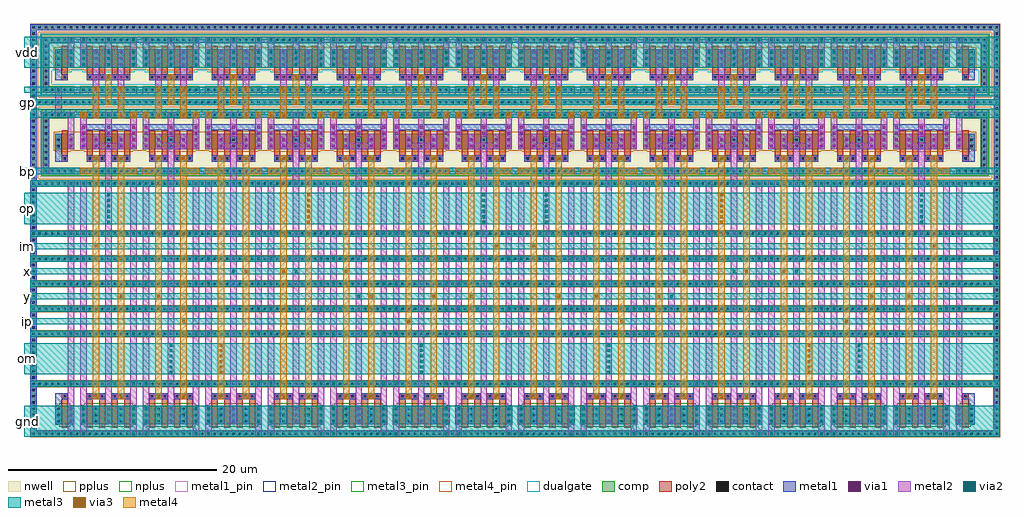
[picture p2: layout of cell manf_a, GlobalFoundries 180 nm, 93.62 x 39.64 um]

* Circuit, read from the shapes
.subckt manf_a bp gnd gp im ip om op vdd vreg x y
XM1 gnd manf_edge_1/lo manf_edge_1/lo gnd nfet_03v3 w=1.8u l=0.6u
XM2 manf_cell_0/d1 im gnd gnd nfet_03v3 w=1.8u l=0.6u
XM3 op im manf_cell_0/d1 gnd nfet_03v3 w=1.8u l=0.6u
XM4 manf_cell_0/d2 y op gnd nfet_03v3 w=1.8u l=0.6u
XM5 gnd y manf_cell_0/d2 gnd nfet_03v3 w=1.8u l=0.6u
XM6 manf_cell_2/d1 y gnd gnd nfet_03v3 w=1.8u l=0.6u
XM7 om y manf_cell_2/d1 gnd nfet_03v3 w=1.8u l=0.6u
XM8 manf_cell_2/d2 ip om gnd nfet_03v3 w=1.8u l=0.6u
XM9 gnd ip manf_cell_2/d2 gnd nfet_03v3 w=1.8u l=0.6u
XM10 manf_cell_3/d1 om gnd gnd nfet_03v3 w=1.8u l=0.6u
XM11 x om manf_cell_3/d1 gnd nfet_03v3 w=1.8u l=0.6u
XM12 manf_cell_3/d2 x x gnd nfet_03v3 w=1.8u l=0.6u
XM13 gnd x manf_cell_3/d2 gnd nfet_03v3 w=1.8u l=0.6u
XM14 manf_cell_4/d1 x gnd gnd nfet_03v3 w=1.8u l=0.6u
XM15 x x manf_cell_4/d1 gnd nfet_03v3 w=1.8u l=0.6u
XM16 manf_cell_4/d2 op x gnd nfet_03v3 w=1.8u l=0.6u
XM17 gnd op manf_cell_4/d2 gnd nfet_03v3 w=1.8u l=0.6u
XM18 manf_cell_5/d1 x gnd gnd nfet_03v3 w=1.8u l=0.6u
XM19 y x manf_cell_5/d1 gnd nfet_03v3 w=1.8u l=0.6u
XM20 manf_cell_5/d2 y y gnd nfet_03v3 w=1.8u l=0.6u
XM21 gnd y manf_cell_5/d2 gnd nfet_03v3 w=1.8u l=0.6u
XM22 manf_cell_6/d1 ip gnd gnd nfet_03v3 w=1.8u l=0.6u
XM23 om ip manf_cell_6/d1 gnd nfet_03v3 w=1.8u l=0.6u
XM24 manf_cell_6/d2 y om gnd nfet_03v3 w=1.8u l=0.6u
XM25 gnd y manf_cell_6/d2 gnd nfet_03v3 w=1.8u l=0.6u
XM26 manf_cell_7/d1 y gnd gnd nfet_03v3 w=1.8u l=0.6u
XM27 op y manf_cell_7/d1 gnd nfet_03v3 w=1.8u l=0.6u
XM28 manf_cell_7/d2 im op gnd nfet_03v3 w=1.8u l=0.6u
XM29 gnd im manf_cell_7/d2 gnd nfet_03v3 w=1.8u l=0.6u
XM30 manf_cell_8/d2 im gnd gnd nfet_03v3 w=1.8u l=0.6u
XM31 op im manf_cell_8/d2 gnd nfet_03v3 w=1.8u l=0.6u
XM32 manf_cell_8/d1 y op gnd nfet_03v3 w=1.8u l=0.6u
XM33 gnd y manf_cell_8/d1 gnd nfet_03v3 w=1.8u l=0.6u
XM34 manf_cell_9/d2 y gnd gnd nfet_03v3 w=1.8u l=0.6u
XM35 om y manf_cell_9/d2 gnd nfet_03v3 w=1.8u l=0.6u
XM36 manf_cell_9/d1 ip om gnd nfet_03v3 w=1.8u l=0.6u
XM37 gnd ip manf_cell_9/d1 gnd nfet_03v3 w=1.8u l=0.6u
XM38 manf_cell_10/d2 y gnd gnd nfet_03v3 w=1.8u l=0.6u
XM39 y y manf_cell_10/d2 gnd nfet_03v3 w=1.8u l=0.6u
XM40 manf_cell_10/d1 x y gnd nfet_03v3 w=1.8u l=0.6u
XM41 gnd x manf_cell_10/d1 gnd nfet_03v3 w=1.8u l=0.6u
XM42 manf_cell_11/d2 op gnd gnd nfet_03v3 w=1.8u l=0.6u
XM43 x op manf_cell_11/d2 gnd nfet_03v3 w=1.8u l=0.6u
XM44 manf_cell_11/d1 x x gnd nfet_03v3 w=1.8u l=0.6u
XM45 gnd x manf_cell_11/d1 gnd nfet_03v3 w=1.8u l=0.6u
XM46 manf_cell_12/d2 x gnd gnd nfet_03v3 w=1.8u l=0.6u
XM47 x x manf_cell_12/d2 gnd nfet_03v3 w=1.8u l=0.6u
XM48 manf_cell_12/d1 om x gnd nfet_03v3 w=1.8u l=0.6u
XM49 gnd om manf_cell_12/d1 gnd nfet_03v3 w=1.8u l=0.6u
XM50 manf_cell_13/d2 ip gnd gnd nfet_03v3 w=1.8u l=0.6u
XM51 om ip manf_cell_13/d2 gnd nfet_03v3 w=1.8u l=0.6u
XM52 manf_cell_13/d1 y om gnd nfet_03v3 w=1.8u l=0.6u
XM53 gnd y manf_cell_13/d1 gnd nfet_03v3 w=1.8u l=0.6u
XM54 manf_cell_14/d2 y gnd gnd nfet_03v3 w=1.8u l=0.6u
XM55 op y manf_cell_14/d2 gnd nfet_03v3 w=1.8u l=0.6u
XM56 manf_cell_14/d1 im op gnd nfet_03v3 w=1.8u l=0.6u
XM57 gnd im manf_cell_14/d1 gnd nfet_03v3 w=1.8u l=0.6u
XM58 manf_edge_15/lo manf_edge_15/lo gnd gnd nfet_03v3 w=1.8u l=0.6u
XM59 vreg manf_edge_1/hi manf_edge_1/hi bp pfet_03v3 w=1.5u l=0.6u
XM60 vdd manf_edge_1/hih manf_edge_1/hih vdd pfet_06v0 w=1.8u l=0.6u
XM61 op im vreg bp pfet_03v3 w=1.5u l=0.6u m=8
XM62 vreg gp vdd vdd pfet_06v0 w=1.8u l=0.6u m=56
XM63 op y vreg bp pfet_03v3 w=1.5u l=0.6u m=8
XM64 om y vreg bp pfet_03v3 w=1.5u l=0.6u m=8
XM65 om ip vreg bp pfet_03v3 w=1.5u l=0.6u m=8
XM66 x om vreg bp pfet_03v3 w=1.5u l=0.6u m=4
XM67 x x vreg bp pfet_03v3 w=1.5u l=0.6u m=8
XM68 x op vreg bp pfet_03v3 w=1.5u l=0.6u m=4
XM69 y x vreg bp pfet_03v3 w=1.5u l=0.6u m=4
XM70 y y vreg bp pfet_03v3 w=1.5u l=0.6u m=4
XM71 manf_edge_15/hi manf_edge_15/hi vreg bp pfet_03v3 w=1.5u l=0.6u
XM72 manf_edge_15/hih manf_edge_15/hih vdd vdd pfet_06v0 w=1.8u l=0.6u
.ends

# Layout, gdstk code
from math import pi, radians
import gdstk
lib = gdstk.Library(unit=1e-6, precision=1e-09)
def R(c, l, rs):  # rectangles x0, y0, x1, y1
    for r in rs: c.add(gdstk.rectangle(r[:2], r[2:], *l))
def A(c, l, x, y, w, h, nx, ny, dx, dy):  # array of equal rectangles
    R(c, l, [(x+i*dx, y+j*dy, x+i*dx+w, y+j*dy+h) for i in range(nx) for j in range(ny)])
nwell = (21, 0)
comp = (22, 0)
poly2 = (30, 0)
pplus = (31, 0)
nplus = (32, 0)
contact = (33, 0)
metal1 = (34, 0)
metal1_pin = (34, 10)
via1 = (35, 0)
metal2 = (36, 0)
metal2_pin = (36, 10)
via2 = (38, 0)
via3 = (40, 0)
metal3 = (42, 0)
metal3_pin = (42, 10)
metal4 = (46, 0)
metal4_pin = (46, 10)
dualgate = (55, 0)

manf_cell = lib.new_cell('manf_cell')
R(manf_cell, nwell, [(-36,18.3,-29.4,24.9), (-36,26.1,-29.4,32.1)])
A(manf_cell, comp, -36, -6.6, 6.6, 0.6, 1, 3, 0, 4.8)
A(manf_cell, comp, -36, 5.4, 6.6, 0.6, 1, 4, 0, 2.4)
R(manf_cell, comp, [(-35.4,-5.4,-30,-3.6), (-36,17.4,-29.4,18), (-35.4,18.6,-30,19.2), (-35.4,21,-30,22.5), (-35.4,24,-30,24.6), (-36,25.2,-29.4,25.8), (-35.4,26.4,-30,27), (-35.4,28.8,-30,30.6), (-35.4,31.2,-30,31.8), (-36,32.4,-29.4,33)])
A(manf_cell, poly2, -34.8, -5.7, 0.6, 2.7, 4, 2, 1.2, 33.9)
A(manf_cell, poly2, -34.8, 20.4, 0.6, 2.4, 4, 1, 1.2, 0)
R(manf_cell, poly2, [(-34.8,-3,-33,-2.4), (-32.4,-3,-30.6,-2.4), (-34.8,19.8,-33,20.4), (-32.4,19.8,-30.6,20.4), (-34.8,27.6,-30.6,28.2)])
A(manf_cell, pplus, -36.02, -6.62, 6.64, 0.64, 1, 3, 0, 4.8)
A(manf_cell, pplus, -36.02, 5.38, 6.64, 0.64, 1, 4, 0, 2.4)
R(manf_cell, pplus, [(-36.02,17.38,-29.38,17.71), (-36.16,17.71,-29.24,18.16), (-35.03,20.77,-30.37,20.84), (-35.56,20.84,-29.84,22.66), (-35.03,22.66,-30.37,22.73), (-36.16,25.04,-29.24,25.96), (-35.03,28.57,-30.37,28.64), (-35.56,28.64,-29.84,30.76), (-35.03,30.76,-30.37,30.83), (-36.16,32.24,-29.24,32.69), (-36.02,32.69,-29.38,33.02)])
R(manf_cell, nplus, [(-35.03,-5.63,-30.37,-5.42), (-35.42,-5.42,-29.98,-3.58), (-35.03,-3.58,-30.37,-3.37), (-35.56,18.44,-29.84,18.89), (-35.42,18.89,-29.98,19.22), (-35.42,23.98,-29.98,24.31), (-35.56,24.31,-29.84,24.76), (-35.56,26.24,-29.84,26.69), (-35.42,26.69,-29.98,27.02), (-35.42,31.18,-29.98,31.51), (-35.56,31.51,-29.84,31.96)])
A(manf_cell, contact, -35.81, -6.41, 0.22, 0.22, 11, 3, 0.6, 4.8)
A(manf_cell, contact, -35.21, -5.21, 0.22, 0.22, 5, 3, 1.2, 0.6)
A(manf_cell, contact, -34.61, -2.81, 0.22, 0.22, 3, 2, 0.6, 22.8)
A(manf_cell, contact, -32.21, -2.81, 0.22, 0.22, 3, 2, 0.6, 22.8)
A(manf_cell, contact, -35.81, 5.59, 0.22, 0.22, 11, 4, 0.6, 2.4)
A(manf_cell, contact, -35.81, 17.59, 0.22, 0.22, 11, 2, 0.6, 7.8)
A(manf_cell, contact, -35.21, 18.79, 0.22, 0.22, 9, 2, 0.6, 5.4)
A(manf_cell, contact, -35.21, 21.19, 0.22, 0.22, 5, 2, 1.2, 0.6)
A(manf_cell, contact, -35.21, 26.59, 0.22, 0.22, 9, 2, 0.6, 4.8)
A(manf_cell, contact, -34.61, 27.79, 0.22, 0.22, 7, 1, 0.6, 0)
A(manf_cell, contact, -35.21, 28.99, 0.22, 0.22, 5, 3, 1.2, 0.6)
A(manf_cell, contact, -35.81, 32.59, 0.22, 0.22, 11, 1, 0.6, 0)
A(manf_cell, metal1, -36, -6.6, 6.6, 0.6, 1, 3, 0, 4.8)
A(manf_cell, metal1, -35.4, -5.4, 0.6, 1.8, 5, 2, 1.2, 34.2)
A(manf_cell, metal1, -36, 5.4, 6.6, 0.6, 1, 4, 0, 2.4)
A(manf_cell, metal1, -35.4, 21, 0.6, 1.8, 3, 1, 2.4, 0)
A(manf_cell, metal1, -36, 24, 6.6, 0.6, 1, 3, 0, 1.2)
R(manf_cell, metal1, [(-34.8,-3,-33,-2.4), (-32.4,-3,-30.6,-2.4), (-36,17.4,-29.4,18), (-36,18.6,-29.4,19.2), (-34.8,19.8,-33,20.4), (-32.4,19.8,-30.6,20.4), (-34.2,21,-33.6,22.5), (-31.8,21,-31.2,22.5), (-35.4,22.8,-30,23.4), (-34.8,27.6,-30.6,28.2), (-36,31.2,-29.4,31.8), (-36,32.4,-29.4,33)])
R(manf_cell, metal1_pin, [(-36,18.6,-35.4,19.2), (-30,18.6,-29.4,19.2)])
A(manf_cell, via1, -35.23, -6.43, 0.26, 0.26, 1, 3, 0, 4.8)
A(manf_cell, via1, -30.43, -6.43, 0.26, 0.26, 1, 3, 0, 4.8)
A(manf_cell, via1, -35.23, -5.23, 0.26, 0.26, 3, 3, 2.4, 0.6)
A(manf_cell, via1, -35.23, 5.57, 0.26, 0.26, 1, 4, 0, 2.4)
A(manf_cell, via1, -30.43, 5.57, 0.26, 0.26, 1, 4, 0, 2.4)
A(manf_cell, via1, -35.23, 22.37, 0.26, 0.26, 3, 2, 2.4, 0.6)
A(manf_cell, via1, -35.23, 28.97, 0.26, 0.26, 5, 3, 1.2, 0.6)
A(manf_cell, via1, -35.23, 31.37, 0.26, 0.26, 3, 1, 2.4, 0)
R(manf_cell, via1, [(-34.03,-2.83,-33.77,-2.57), (-31.63,-2.83,-31.37,-2.57), (-35.23,17.57,-34.97,17.83), (-30.43,17.57,-30.17,17.83), (-35.23,18.77,-34.97,19.03), (-30.43,18.77,-30.17,19.03), (-34.03,19.97,-33.77,20.23), (-31.63,19.97,-31.37,20.23), (-35.23,21.17,-34.97,21.43), (-34.03,21.17,-33.77,21.43), (-31.63,21.17,-31.37,21.43), (-30.43,21.17,-30.17,21.43), (-35.23,21.77,-34.97,22.03), (-34.03,21.77,-33.77,22.03), (-31.63,21.77,-31.37,22.03), (-30.43,21.77,-30.17,22.03), (-32.83,27.77,-32.57,28.03)])
A(manf_cell, metal2, -35.4, 28.8, 0.6, 3, 3, 1, 2.4, 0)
R(manf_cell, metal2, [(-35.4,-6.6,-34.8,18), (-30.6,-6.6,-30,18), (-33,-5.4,-32.4,21), (-34.2,-3,-33.6,-2.4), (-31.8,-3,-31.2,-2.4), (-35.4,18.6,-34.8,19.2), (-30.6,18.6,-30,19.2), (-34.2,19.8,-33.6,20.4), (-31.8,19.8,-31.2,20.4), (-35.4,21,-34.8,24.6), (-34.2,21,-31.2,21.6), (-30.6,21,-30,24.6), (-34.2,21.6,-33.6,22.5), (-31.8,21.6,-31.2,22.5), (-33,22.2,-32.4,24.6), (-34.2,24,-33.6,30.6), (-31.8,24,-31.2,30.6), (-33,27.6,-32.4,28.2)])
R(manf_cell, metal2_pin, [(-33,-0.6,-32.4,16.8)])
A(manf_cell, via2, -35.23, -5.23, 0.26, 0.26, 1, 3, 0, 0.6)
A(manf_cell, via2, -30.43, -5.23, 0.26, 0.26, 1, 3, 0, 0.6)
A(manf_cell, via2, -35.23, 3.17, 0.26, 0.26, 1, 5, 0, 2.4)
A(manf_cell, via2, -30.43, 3.17, 0.26, 0.26, 1, 5, 0, 2.4)
A(manf_cell, via2, -35.23, 24.17, 0.26, 0.26, 5, 1, 1.2, 0)
A(manf_cell, via2, -35.23, 28.97, 0.26, 0.26, 3, 3, 2.4, 0.6)
A(manf_cell, via2, -35.23, 31.37, 0.26, 0.26, 3, 1, 2.4, 0)
R(manf_cell, via2, [(-35.23,-6.43,-34.97,-6.17), (-30.43,-6.43,-30.17,-6.17), (-34.03,-2.83,-33.77,-2.57), (-31.63,-2.83,-31.37,-2.57), (-35.23,-1.63,-34.97,-1.37), (-30.43,-1.63,-30.17,-1.37), (-35.23,17.57,-34.97,17.83), (-30.43,17.57,-30.17,17.83), (-35.23,18.77,-34.97,19.03), (-30.43,18.77,-30.17,19.03), (-34.03,19.97,-33.77,20.23), (-31.63,19.97,-31.37,20.23), (-34.03,26.57,-33.77,26.83), (-31.63,26.57,-31.37,26.83), (-32.83,27.77,-32.57,28.03)])
R(manf_cell, via3, [(-34.03,-2.83,-33.77,-2.57), (-31.63,-2.83,-31.37,-2.57), (-34.03,19.97,-33.77,20.23), (-31.63,19.97,-31.37,20.23), (-35.23,24.17,-34.97,24.43), (-34.03,24.17,-33.77,24.43), (-31.63,24.17,-31.37,24.43), (-30.43,24.17,-30.17,24.43), (-32.83,25.37,-32.57,25.63), (-34.03,26.57,-33.77,26.83), (-31.63,26.57,-31.37,26.83), (-32.83,27.77,-32.57,28.03)])
A(manf_cell, metal3, -36, 3, 6.6, 0.6, 1, 9, 0, 1.2)
R(manf_cell, metal3, [(-36,-6.6,-29.4,-3.6), (-34.2,-3,-33.6,-2.4), (-31.8,-3,-31.2,-2.4), (-36,-1.8,-29.4,-1.2), (-36,-0.6,-29.4,2.4), (-36,13.8,-29.4,16.8), (-36,17.4,-29.4,18), (-36,18.6,-29.4,19.2), (-34.2,19.8,-33.6,20.4), (-31.8,19.8,-31.2,20.4), (-36,24,-29.4,24.9), (-36,25.2,-29.4,25.8), (-36,26.1,-29.4,27), (-33,27.6,-32.4,28.2), (-36,28.8,-29.4,31.8)])
A(manf_cell, metal3_pin, -36, 4.2, 6.6, 0.6, 1, 4, 0, 2.4)
R(manf_cell, metal3_pin, [(-36,-6.6,-29.4,-3.6), (-36,-0.6,-29.4,2.4), (-36,13.8,-29.4,16.8), (-36,25.2,-29.4,25.8), (-36,26.1,-35.4,27), (-30,26.1,-29.4,27), (-36,28.8,-29.4,31.8)])
R(manf_cell, metal4, [(-34.2,-3,-33.6,18.6), (-31.8,-3,-31.2,18.6), (-35.4,18.6,-33.6,19.2), (-31.8,18.6,-30,19.2), (-34.2,19.2,-33.6,20.4), (-31.8,19.2,-31.2,20.4), (-35.4,24,-34.8,24.6), (-34.2,24,-33.6,27), (-31.8,24,-31.2,27), (-30.6,24,-30,24.6), (-33,25.2,-32.4,28.2)])
R(manf_cell, metal4_pin, [(-34.2,-0.6,-33.6,16.8), (-31.8,-0.6,-31.2,16.8)])
R(manf_cell, dualgate, [(-35.64,26.16,-29.76,27.24), (-35.2,28.4,-30.2,28.56), (-35.64,28.56,-29.76,32.04)])
manf_cell.add(gdstk.Label('d1', (-33.9,-4.5), layer=34, texttype=0))
manf_cell.add(gdstk.Label('d2', (-31.5,-4.5), layer=34, texttype=0))
manf_cell.add(gdstk.Label('gnd', (-32.7,32.7), layer=34, texttype=0))
manf_cell.add(gdstk.Label('gnd', (-32.7,25.5), layer=34, texttype=0))
manf_cell.add(gdstk.Label('inl', (-33.9,8.1), layer=46, texttype=10))
manf_cell.add(gdstk.Label('inr', (-31.5,8.1), layer=46, texttype=10))
manf_cell.add(gdstk.Label('out', (-32.7,8.1), layer=36, texttype=10))
manf_cell.add(gdstk.Label('vdd', (-32.7,30.3), layer=42, texttype=10))
manf_cell.add(gdstk.Label('gp', (-32.7,25.5), layer=42, texttype=10))
manf_cell.add(gdstk.Label('bp', (-35.7,18.9), layer=34, texttype=10))
manf_cell.add(gdstk.Label('bp', (-29.7,18.9), layer=34, texttype=10))
manf_cell.add(gdstk.Label('vreg', (-35.7,26.55), layer=42, texttype=10))
manf_cell.add(gdstk.Label('vreg', (-29.7,26.55), layer=42, texttype=10))
manf_cell.add(gdstk.Label('op', (-32.7,15.3), layer=42, texttype=10))
manf_cell.add(gdstk.Label('im', (-32.7,11.7), layer=42, texttype=10))
manf_cell.add(gdstk.Label('x', (-32.7,9.3), layer=42, texttype=10))
manf_cell.add(gdstk.Label('y', (-32.7,6.9), layer=42, texttype=10))
manf_cell.add(gdstk.Label('ip', (-32.7,4.5), layer=42, texttype=10))
manf_cell.add(gdstk.Label('om', (-32.7,0.9), layer=42, texttype=10))
manf_cell.add(gdstk.Label('gnd', (-32.7,-5.1), layer=42, texttype=10))

manf_edge = lib.new_cell('manf_edge')
R(manf_edge, nwell, [(-36.9,18.3,-33,24.9), (-36.9,26.1,-33,32.1)])
A(manf_edge, comp, -37.8, -6.6, 4.8, 0.6, 1, 3, 0, 4.8)
A(manf_edge, comp, -37.8, 3.6, 0.6, 1.8, 1, 4, 0, 2.4)
A(manf_edge, comp, -37.8, 5.4, 4.8, 0.6, 1, 4, 0, 2.4)
R(manf_edge, comp, [(-37.8,-6,-37.2,-1.8), (-35.4,-5.4,-33.6,-3.6), (-37.8,-1.2,-37.2,3), (-37.8,13.2,-37.2,17.4), (-37.8,17.4,-33,18), (-37.8,18,-37.2,25.2), (-36.6,18.6,-33.6,19.2), (-36.6,19.2,-36,24), (-35.4,21,-33.6,22.5), (-36.6,24,-33.6,24.6), (-37.8,25.2,-33,25.8), (-37.8,25.8,-37.2,32.4), (-36.6,26.4,-33.6,27), (-36.6,27,-36,31.2), (-35.4,28.8,-33.6,30.6), (-36.6,31.2,-33.6,31.8), (-37.8,32.4,-33,33)])
R(manf_edge, poly2, [(-34.8,-5.7,-34.2,-2.4), (-34.8,19.8,-34.2,22.8), (-34.8,27.6,-34.2,30.9)])
A(manf_edge, pplus, -37.82, -6.62, 4.84, 0.64, 1, 3, 0, 4.8)
A(manf_edge, pplus, -37.82, 3.62, 0.64, 1.76, 1, 4, 0, 2.4)
A(manf_edge, pplus, -37.82, 5.38, 4.84, 0.64, 1, 4, 0, 2.4)
R(manf_edge, pplus, [(-37.82,-5.98,-37.18,-1.82), (-37.82,-1.18,-37.18,2.98), (-37.82,13.22,-37.18,17.38), (-37.82,17.38,-32.98,17.71), (-37.82,17.71,-32.84,18.16), (-37.82,18.16,-37.04,25.04), (-35.03,20.77,-33.97,20.84), (-35.56,20.84,-33.44,22.66), (-35.03,22.66,-33.97,22.73), (-37.82,25.04,-32.84,25.96), (-37.82,25.96,-37.04,32.24), (-35.03,28.57,-33.97,28.64), (-35.56,28.64,-33.44,30.76), (-35.03,30.76,-33.97,30.83), (-37.82,32.24,-32.84,32.69), (-37.82,32.69,-32.98,33.02)])
R(manf_edge, nplus, [(-35.03,-5.63,-33.97,-5.42), (-35.42,-5.42,-33.58,-3.58), (-35.03,-3.58,-33.97,-3.37), (-36.76,18.44,-33.44,18.89), (-36.76,18.89,-33.58,19.22), (-36.76,19.22,-35.98,23.98), (-36.76,23.98,-33.58,24.31), (-36.76,24.31,-33.44,24.76), (-36.76,26.24,-33.44,26.69), (-36.76,26.69,-33.58,27.02), (-36.76,27.02,-35.98,31.18), (-36.76,31.18,-33.58,31.51), (-36.76,31.51,-33.44,31.96)])
A(manf_edge, contact, -37.61, -6.41, 0.22, 0.22, 8, 3, 0.6, 4.8)
A(manf_edge, contact, -37.61, -5.81, 0.22, 0.22, 1, 7, 0, 0.6)
A(manf_edge, contact, -35.21, -5.21, 0.22, 0.22, 1, 3, 0, 0.6)
A(manf_edge, contact, -34.01, -5.21, 0.22, 0.22, 1, 3, 0, 0.6)
A(manf_edge, contact, -37.61, -1.01, 0.22, 0.22, 1, 7, 0, 0.6)
A(manf_edge, contact, -37.61, 3.79, 0.22, 0.22, 1, 3, 0, 0.6)
A(manf_edge, contact, -37.61, 5.59, 0.22, 0.22, 8, 4, 0.6, 2.4)
A(manf_edge, contact, -37.61, 6.19, 0.22, 0.22, 1, 3, 0, 0.6)
A(manf_edge, contact, -37.61, 8.59, 0.22, 0.22, 1, 3, 0, 0.6)
A(manf_edge, contact, -37.61, 10.99, 0.22, 0.22, 1, 3, 0, 0.6)
A(manf_edge, contact, -37.61, 13.39, 0.22, 0.22, 1, 7, 0, 0.6)
A(manf_edge, contact, -37.61, 17.59, 0.22, 0.22, 8, 2, 0.6, 7.8)
A(manf_edge, contact, -37.61, 18.19, 0.22, 0.22, 1, 5, 0, 0.6)
A(manf_edge, contact, -36.41, 18.79, 0.22, 0.22, 5, 2, 0.6, 5.4)
A(manf_edge, contact, -36.41, 19.39, 0.22, 0.22, 1, 3, 0, 0.6)
A(manf_edge, contact, -37.61, 21.19, 0.22, 0.22, 4, 2, 1.2, 0.6)
A(manf_edge, contact, -37.61, 22.39, 0.22, 0.22, 1, 5, 0, 0.6)
A(manf_edge, contact, -36.41, 22.39, 0.22, 0.22, 1, 3, 0, 0.6)
A(manf_edge, contact, -37.61, 25.99, 0.22, 0.22, 1, 5, 0, 0.6)
A(manf_edge, contact, -36.41, 26.59, 0.22, 0.22, 5, 2, 0.6, 4.8)
A(manf_edge, contact, -36.41, 27.19, 0.22, 0.22, 1, 3, 0, 0.6)
A(manf_edge, contact, -37.61, 28.99, 0.22, 0.22, 4, 3, 1.2, 0.6)
A(manf_edge, contact, -37.61, 30.79, 0.22, 0.22, 1, 3, 0, 0.6)
A(manf_edge, contact, -37.61, 32.59, 0.22, 0.22, 8, 1, 0.6, 0)
R(manf_edge, contact, [(-34.61,-2.81,-34.39,-2.59), (-34.61,19.99,-34.39,20.21), (-34.61,27.79,-34.39,28.01), (-36.41,30.79,-36.19,31.01)])
A(manf_edge, metal1, -37.8, -6.6, 4.8, 0.6, 1, 3, 0, 4.8)
A(manf_edge, metal1, -37.8, 3.6, 0.6, 1.8, 1, 4, 0, 2.4)
A(manf_edge, metal1, -37.8, 5.4, 4.8, 0.6, 1, 4, 0, 2.4)
R(manf_edge, metal1, [(-37.8,-6,-37.2,-1.8), (-35.4,-5.4,-34.8,-3), (-34.2,-5.4,-33.6,-3.6), (-35.4,-3,-34.2,-2.4), (-37.8,-1.2,-37.2,3), (-37.8,13.2,-37.2,17.4), (-37.8,17.4,-33,18), (-37.8,18,-37.2,25.2), (-36.6,18.6,-33,19.2), (-36.6,19.2,-36,24), (-35.4,19.8,-34.2,20.4), (-35.4,20.4,-34.8,22.5), (-34.2,21,-33.6,22.5), (-36.6,24,-33.6,24.6), (-37.8,25.2,-33,25.8), (-37.8,25.8,-37.2,32.4), (-36.6,26.4,-33,27), (-36.6,27,-36,31.2), (-35.4,27.6,-34.2,28.2), (-35.4,28.2,-34.8,30.6), (-34.2,28.8,-33.6,30.6), (-36.6,31.2,-33,31.8), (-37.8,32.4,-33,33)])
A(manf_edge, via1, -34.03, -5.23, 0.26, 0.26, 1, 3, 0, 0.6)
A(manf_edge, via1, -34.03, 3.17, 0.26, 0.26, 1, 5, 0, 2.4)
A(manf_edge, via1, -34.03, 28.97, 0.26, 0.26, 1, 3, 0, 0.6)
R(manf_edge, via1, [(-34.03,-6.43,-33.77,-6.17), (-34.03,-1.63,-33.77,-1.37), (-34.03,17.57,-33.77,17.83), (-36.43,18.77,-36.17,19.03), (-34.03,21.17,-33.77,21.43), (-34.03,21.77,-33.77,22.03), (-34.03,31.37,-33.77,31.63)])
R(manf_edge, metal2, [(-34.2,-6.6,-33.6,18), (-36.6,18.6,-36,19.2), (-34.2,21,-33.6,24.6), (-35.4,24,-34.8,27), (-34.2,28.8,-33.6,31.8)])
A(manf_edge, via2, -34.03, -6.43, 0.26, 0.26, 1, 3, 0, 4.8)
A(manf_edge, via2, -34.03, 5.57, 0.26, 0.26, 1, 4, 0, 2.4)
A(manf_edge, via2, -34.03, 28.97, 0.26, 0.26, 1, 3, 0, 0.6)
R(manf_edge, via2, [(-34.03,17.57,-33.77,17.83), (-36.43,18.77,-36.17,19.03), (-35.23,24.17,-34.97,24.43), (-34.03,24.17,-33.77,24.43), (-35.23,26.57,-34.97,26.83), (-34.03,31.37,-33.77,31.63)])
A(manf_edge, metal3, -37.8, 3, 4.8, 0.6, 1, 9, 0, 1.2)
R(manf_edge, metal3, [(-37.8,-6.6,-33,-3.6), (-37.8,-1.8,-33,-1.2), (-37.8,-0.6,-33,2.4), (-37.8,13.8,-33,16.8), (-37.8,17.4,-33,18), (-37.8,18.6,-33,19.2), (-37.8,24,-33,24.9), (-37.8,25.2,-33,25.8), (-37.8,26.1,-33,27), (-37.8,28.8,-33,31.8)])
A(manf_edge, metal3_pin, -37.8, 4.2, 4.8, 0.6, 1, 4, 0, 2.4)
R(manf_edge, metal3_pin, [(-37.8,-6.6,-33,-3.6), (-37.8,-0.6,-33,2.4), (-37.8,13.8,-33,16.8), (-37.8,18.6,-33,19.2), (-37.8,25.2,-33,25.8), (-37.8,26.4,-33,27), (-37.8,28.8,-33,31.8)])
R(manf_edge, dualgate, [(-36.84,26.16,-33.36,27.24), (-36.84,27.24,-35.76,28.56), (-35.2,28.4,-33.8,28.56), (-36.84,28.56,-33.36,32.04)])
manf_edge.add(gdstk.Label('hih', (-35.1,27.9), layer=34, texttype=0))
manf_edge.add(gdstk.Label('hi', (-35.1,20.1), layer=34, texttype=0))
manf_edge.add(gdstk.Label('lo', (-35.1,-2.7), layer=34, texttype=0))
manf_edge.add(gdstk.Label('vdd', (-35.4,30.3), layer=42, texttype=10))
manf_edge.add(gdstk.Label('vreg', (-35.4,26.7), layer=42, texttype=10))
manf_edge.add(gdstk.Label('gp', (-35.4,25.5), layer=42, texttype=10))
manf_edge.add(gdstk.Label('bp', (-35.4,18.9), layer=42, texttype=10))
manf_edge.add(gdstk.Label('op', (-35.4,15.3), layer=42, texttype=10))
manf_edge.add(gdstk.Label('im', (-35.4,11.7), layer=42, texttype=10))
manf_edge.add(gdstk.Label('x', (-35.4,9.3), layer=42, texttype=10))
manf_edge.add(gdstk.Label('y', (-35.4,6.9), layer=42, texttype=10))
manf_edge.add(gdstk.Label('ip', (-35.4,4.5), layer=42, texttype=10))
manf_edge.add(gdstk.Label('om', (-35.4,0.9), layer=42, texttype=10))
manf_edge.add(gdstk.Label('gnd', (-35.4,-5.1), layer=42, texttype=10))

manf_a = lib.new_cell('manf_a')
A(manf_a, pplus, -41.84, 18.44, 0.28, 1.82, 15, 1, 6, 0)
A(manf_a, pplus, -41.84, 26.24, 0.28, 2.12, 15, 1, 6, 0)
A(manf_a, nplus, -41.84, 16.04, 0.28, 0.45, 15, 2, 6, 5.87)
A(manf_a, nplus, -41.84, 23.84, 0.28, 0.45, 15, 2, 6, 5.27)
R(manf_a, metal2, [(-33,-3,-32.4,0), (-9,-3,-8.4,0), (9,-3,9.6,0), (33,-3,33.6,0), (-15,4.2,-14.4,4.8), (15,4.2,15.6,4.8), (-27,6.6,-26.4,7.2), (-21,6.6,-20.4,7.2), (21,6.6,21.6,7.2), (27,6.6,27.6,7.2), (-39,11.4,-38.4,14.4), (-3,11.4,-2.4,14.4), (3,11.4,3.6,14.4), (39,11.4,39.6,14.4)])
A(manf_a, via2, -32.83, -2.93, 0.26, 0.26, 1, 6, 0, 0.52)
A(manf_a, via2, -8.83, -2.93, 0.26, 0.26, 1, 6, 0, 0.52)
A(manf_a, via2, 9.17, -2.93, 0.26, 0.26, 1, 6, 0, 0.52)
A(manf_a, via2, 33.17, -2.93, 0.26, 0.26, 1, 6, 0, 0.52)
A(manf_a, via2, -38.83, 11.47, 0.26, 0.26, 1, 6, 0, 0.52)
A(manf_a, via2, -2.83, 11.47, 0.26, 0.26, 1, 6, 0, 0.52)
A(manf_a, via2, 3.17, 11.47, 0.26, 0.26, 1, 6, 0, 0.52)
A(manf_a, via2, 39.17, 11.47, 0.26, 0.26, 1, 6, 0, 0.52)
R(manf_a, via2, [(-14.83,4.37,-14.57,4.63), (15.17,4.37,15.43,4.63), (-26.83,6.77,-26.57,7.03), (-20.83,6.77,-20.57,7.03), (21.17,6.77,21.43,7.03), (27.17,6.77,27.43,7.03)])
A(manf_a, via3, -28.03, -2.93, 0.26, 0.26, 1, 6, 0, 0.52)
A(manf_a, via3, 28.37, -2.93, 0.26, 0.26, 1, 6, 0, 0.52)
A(manf_a, via3, -19.63, 11.47, 0.26, 0.26, 1, 6, 0, 0.52)
A(manf_a, via3, 19.97, 11.47, 0.26, 0.26, 1, 6, 0, 0.52)
R(manf_a, via3, [(-31.63,1.97,-31.37,2.23), (-10.03,1.97,-9.77,2.23), (10.37,1.97,10.63,2.23), (31.97,1.97,32.23,2.23), (-37.63,4.37,-37.37,4.63), (-34.03,4.37,-33.77,4.63), (-13.63,4.37,-13.37,4.63), (-7.63,4.37,-7.37,4.63), (-4.03,4.37,-3.77,4.63), (4.37,4.37,4.63,4.63), (7.97,4.37,8.23,4.63), (13.97,4.37,14.23,4.63), (34.37,4.37,34.63,4.63), (37.97,4.37,38.23,4.63), (-25.63,6.77,-25.37,7.03), (-22.03,6.77,-21.77,7.03), (-16.03,6.77,-15.77,7.03), (16.37,6.77,16.63,7.03), (22.37,6.77,22.63,7.03), (25.97,6.77,26.23,7.03), (-40.03,9.17,-39.77,9.43), (-1.63,9.17,-1.37,9.43), (1.97,9.17,2.23,9.43), (40.37,9.17,40.63,9.43)])
A(manf_a, metal3, -46.8, 1.8, 0.6, 0.6, 1, 4, 0, 2.4)
R(manf_a, metal3, [(-46.8,-9,-46.2,-6), (-46.8,-3,-46.2,0), (-33,-3,-32.4,0), (-28.2,-3,-27.6,0), (-9,-3,-8.4,0), (9,-3,9.6,0), (28.2,-3,28.8,0), (33,-3,33.6,0), (-31.8,1.8,-31.2,2.4), (-10.2,1.8,-9.6,2.4), (10.2,1.8,10.8,2.4), (31.8,1.8,32.4,2.4), (-37.8,4.2,-37.2,4.8), (-34.2,4.2,-33.6,4.8), (-15,4.2,-14.4,4.8), (-13.8,4.2,-13.2,4.8), (-7.8,4.2,-7.2,4.8), (-4.2,4.2,-3.6,4.8), (4.2,4.2,4.8,4.8), (7.8,4.2,8.4,4.8), (13.8,4.2,14.4,4.8), (15,4.2,15.6,4.8), (34.2,4.2,34.8,4.8), (37.8,4.2,38.4,4.8), (-27,6.6,-26.4,7.2), (-25.8,6.6,-25.2,7.2), (-22.2,6.6,-21.6,7.2), (-21,6.6,-20.4,7.2), (-16.2,6.6,-15.6,7.2), (16.2,6.6,16.8,7.2), (21,6.6,21.6,7.2), (22.2,6.6,22.8,7.2), (25.8,6.6,26.4,7.2), (27,6.6,27.6,7.2), (-40.2,9,-39.6,9.6), (-1.8,9,-1.2,9.6), (1.8,9,2.4,9.6), (40.2,9,40.8,9.6), (-46.8,11.4,-46.2,14.4), (-39,11.4,-38.4,14.4), (-19.8,11.4,-19.2,14.4), (-3,11.4,-2.4,14.4), (3,11.4,3.6,14.4), (19.8,11.4,20.4,14.4), (39,11.4,39.6,14.4), (-46.8,16.2,-46.2,16.8), (-46.8,22.8,-46.2,23.4), (-46.8,24,-46.2,24.6), (-46.8,26.4,-46.2,29.4)])
A(manf_a, metal3_pin, -46.8, 1.8, 0.6, 0.6, 1, 3, 0, 7.2)
R(manf_a, metal3_pin, [(-46.8,-9,-46.2,-6), (-46.8,-3,-46.2,0), (-46.8,11.4,-46.2,14.4), (-46.8,22.8,-46.2,23.4), (-46.8,24,-46.2,24.6), (-46.8,26.4,-46.2,29.4)])
R(manf_a, metal4, [(-28.2,-3,-27.6,0), (28.2,-3,28.8,0), (-31.8,1.8,-31.2,2.4), (-10.2,1.8,-9.6,2.4), (10.2,1.8,10.8,2.4), (31.8,1.8,32.4,2.4), (-37.8,4.2,-37.2,4.8), (-34.2,4.2,-33.6,4.8), (-13.8,4.2,-13.2,4.8), (-7.8,4.2,-7.2,4.8), (-4.2,4.2,-3.6,4.8), (4.2,4.2,4.8,4.8), (7.8,4.2,8.4,4.8), (13.8,4.2,14.4,4.8), (34.2,4.2,34.8,4.8), (37.8,4.2,38.4,4.8), (-25.8,6.6,-25.2,7.2), (-22.2,6.6,-21.6,7.2), (-16.2,6.6,-15.6,7.2), (16.2,6.6,16.8,7.2), (22.2,6.6,22.8,7.2), (25.8,6.6,26.4,7.2), (-40.2,9,-39.6,9.6), (-1.8,9,-1.2,9.6), (1.8,9,2.4,9.6), (40.2,9,40.8,9.6), (-19.8,11.4,-19.2,14.4), (19.8,11.4,20.4,14.4)])
A(manf_a, dualgate, -41.76, 23.76, 0.12, 1.08, 15, 1, 6, 0)
A(manf_a, dualgate, -41.76, 26.16, 0.12, 3.48, 15, 1, 6, 0)
manf_a.add(gdstk.Reference(manf_cell, (-6,-2.4)))
manf_a.add(gdstk.Reference(manf_edge, (-8.4,-2.4)))
manf_a.add(gdstk.Reference(manf_cell, (0,-2.4)))
manf_a.add(gdstk.Reference(manf_cell, (6,-2.4)))
manf_a.add(gdstk.Reference(manf_cell, (12,-2.4)))
manf_a.add(gdstk.Reference(manf_cell, (18,-2.4)))
manf_a.add(gdstk.Reference(manf_cell, (24,-2.4)))
manf_a.add(gdstk.Reference(manf_cell, (30,-2.4)))
manf_a.add(gdstk.Reference(manf_cell, (-29.4,-2.4), rotation=pi, x_reflection=True))
manf_a.add(gdstk.Reference(manf_cell, (-23.4,-2.4), rotation=pi, x_reflection=True))
manf_a.add(gdstk.Reference(manf_cell, (-17.4,-2.4), rotation=pi, x_reflection=True))
manf_a.add(gdstk.Reference(manf_cell, (-11.4,-2.4), rotation=pi, x_reflection=True))
manf_a.add(gdstk.Reference(manf_cell, (-5.4,-2.4), rotation=pi, x_reflection=True))
manf_a.add(gdstk.Reference(manf_cell, (0.6,-2.4), rotation=pi, x_reflection=True))
manf_a.add(gdstk.Reference(manf_cell, (6.6,-2.4), rotation=pi, x_reflection=True))
manf_a.add(gdstk.Reference(manf_edge, (9,-2.4), rotation=pi, x_reflection=True))
manf_a.add(gdstk.Label('x', (-46.5,6.9), layer=42, texttype=0))
manf_a.add(gdstk.Label('y', (-46.5,4.5), layer=42, texttype=0))
manf_a.add(gdstk.Label('ip', (-46.5,2.1), layer=42, texttype=10))
manf_a.add(gdstk.Label('im', (-46.5,9.3), layer=42, texttype=10))
manf_a.add(gdstk.Label('op', (-46.5,12.9), layer=42, texttype=10))
manf_a.add(gdstk.Label('om', (-46.5,-1.5), layer=42, texttype=10))
manf_a.add(gdstk.Label('vdd', (-46.5,27.9), layer=42, texttype=10))
manf_a.add(gdstk.Label('gp', (-46.5,23.1), layer=42, texttype=10))
manf_a.add(gdstk.Label('bp', (-46.5,16.5), layer=42, texttype=10))
manf_a.add(gdstk.Label('vreg', (-46.5,24.3), layer=42, texttype=10))
manf_a.add(gdstk.Label('gnd', (-46.5,-7.5), layer=42, texttype=10))

lib.write_gds('manf_a.gds')
